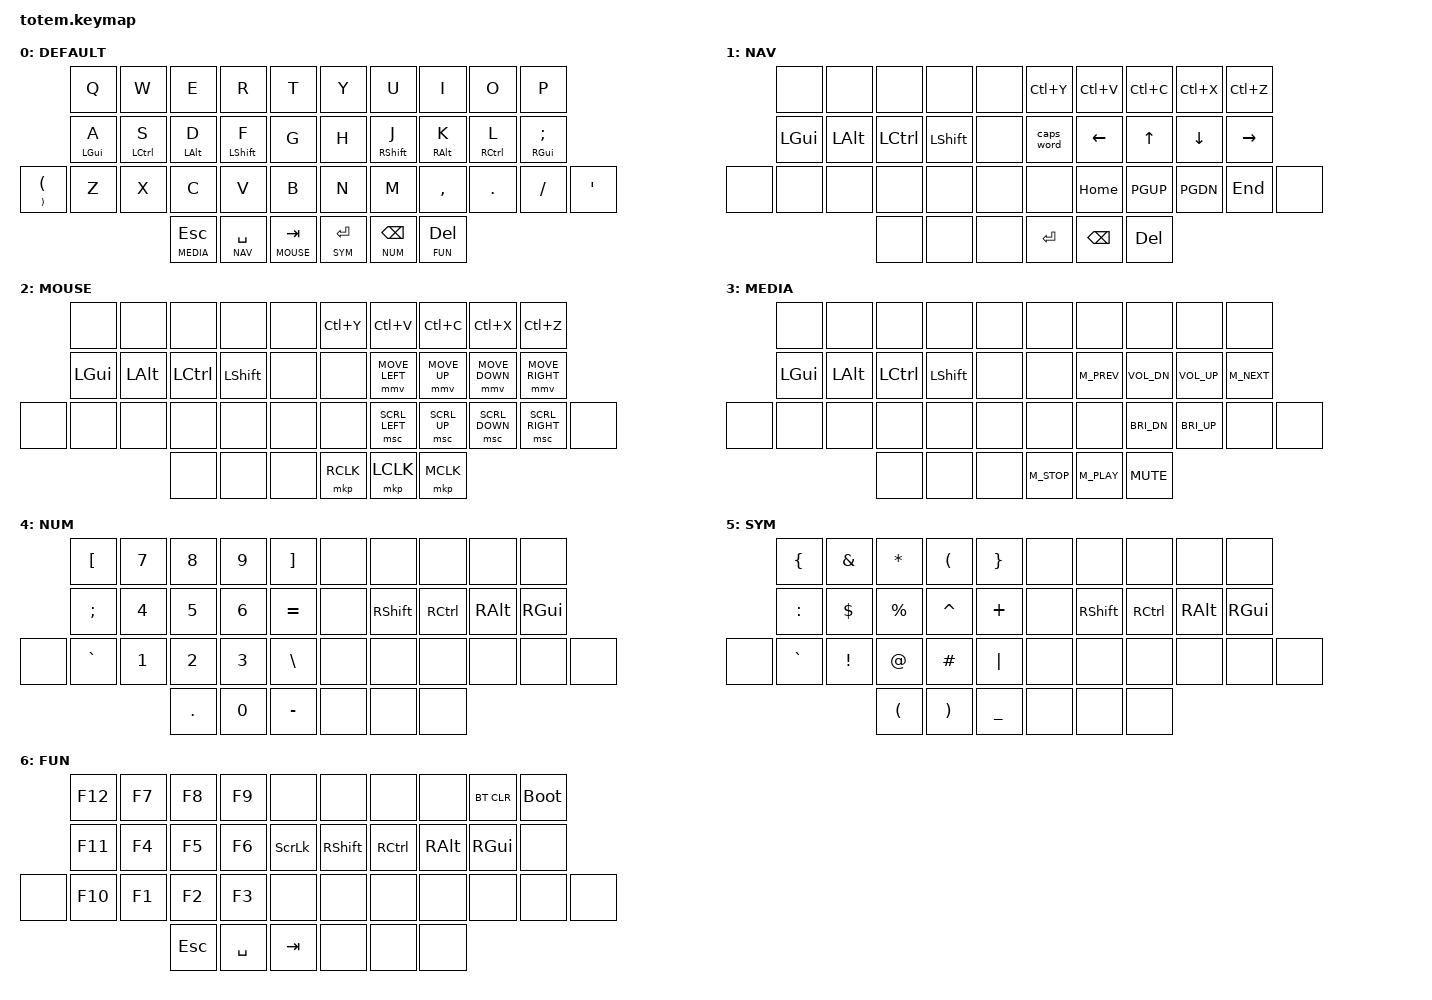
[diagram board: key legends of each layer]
#define ZMK_POINTING_DEFAULT_MOVE_VAL 1500  // default: 600, This controls the speed of the mouse keys, not the cirque.
#define ZMK_POINTING_DEFAULT_SCRL_VAL 20    // default: 10

#include <dt-bindings/zmk/mouse.h>
#include <behaviors/mouse_keys.dtsi>
#include <behaviors.dtsi>
#include <dt-bindings/zmk/bt.h>
#include <dt-bindings/zmk/keys.h>
#include <dt-bindings/zmk/pointing.h>

/* #include <dt-bindings/zmk/pointing.h> */

#define DEFAULT 0
#define NAV     1
#define MOUSE   2
#define MEDIA   3
#define NUM     4
#define SYM     5
#define FUN     6

&caps_word { continue-list = <UNDERSCORE MINUS>; };

/* Defines prefixes that can change behaviors of keys in the keymap*/

/ {
    behaviors {
        hm: homerow_mods {
            compatible = "zmk,behavior-hold-tap";
            #binding-cells = <2>;
            tapping-term-ms = <300>;
            flavor = "tap-preferred";
            bindings = <&kp>, <&kp>;
        };

        hs: homerow_shift {
            compatible = "zmk,behavior-hold-tap";
            #binding-cells = <2>;
            tapping-term-ms = <175>;
            flavor = "balanced";
            bindings = <&kp>, <&kp>;
        };
    };
};

/ {
    keymap {
        compatible = "zmk,keymap";

        DEFAULT {
            bindings = <
                                        &kp Q       &kp W        &kp E           &kp R          &kp T            &kp Y          &kp U         &kp I            &kp O        &kp P
                                        &hm LGUI A  &hm LCTRL S  &hm LEFT_ALT D  &hs LSHIFT F   &kp G            &kp H          &hs RSHIFT J  &hm RIGHT_ALT K  &hm RCTRL L  &hm RGUI SEMICOLON
&mt RIGHT_PARENTHESIS LEFT_PARENTHESIS  &kp Z       &kp X        &kp C           &kp V          &kp B            &kp N          &kp M         &kp COMMA        &kp DOT      &kp SLASH           &kp SINGLE_QUOTE
                                                                 &lt MEDIA ESC   &lt NAV SPACE  &lt MOUSE TAB    &lt SYM ENTER  &lt NUM BSPC  &lt FUN DEL
            >;
        };

        NAV {
            bindings = <
       &none     &none     &none     &none       &none    &kp LC(Y)   &kp LC(V)  &kp LC(C)  &kp LC(X)  &kp LC(Z)
       &kp LGUI  &kp LALT  &kp LCTL  &kp LSHIFT  &none    &caps_word  &kp LEFT   &kp UP     &kp DOWN   &kp RIGHT
&none  &none     &none     &none     &none       &none    &none       &kp HOME   &kp PGUP   &kp PGDN   &kp END    &none
                           &none     &none       &none    &kp ENTER   &kp BSPC   &kp DEL
            >;
        };

        MOUSE {
            bindings = <
       &none     &none     &none     &none       &none    &kp LC(Y)  &kp LC(V)       &kp LC(C)     &kp LC(X)       &kp LC(Z)
       &kp LGUI  &kp LALT  &kp LCTL  &kp LSHIFT  &none    &none      &mmv MOVE_LEFT  &mmv MOVE_UP  &mmv MOVE_DOWN  &mmv MOVE_RIGHT
&none  &none     &none     &none     &none       &none    &none      &msc SCRL_LEFT  &msc SCRL_UP  &msc SCRL_DOWN  &msc SCRL_RIGHT  &none
                           &none     &none       &none    &mkp RCLK  &mkp LCLK       &mkp MCLK
            >;
        };

        MEDIA {
            bindings = <
       &none     &none     &none     &none       &none    &none       &none       &none         &none         &none
       &kp LGUI  &kp LALT  &kp LCTL  &kp LSHIFT  &none    &none       &kp M_PREV  &kp C_VOL_DN  &kp C_VOL_UP  &kp M_NEXT
&none  &none     &none     &none     &none       &none    &none       &none       &kp C_BRI_DN  &kp C_BRI_UP  &none       &none
                           &none     &none       &none    &kp M_STOP  &kp M_PLAY  &kp C_MUTE
            >;
        };

        NUM {
            bindings = <
       &kp LBKT   &kp N7  &kp N8   &kp N9  &kp RBKT     &none  &none       &none     &none     &none
       &kp SCLN   &kp N4  &kp N5   &kp N6  &kp EQUAL    &none  &kp RSHIFT  &kp RCTL  &kp RALT  &kp RGUI
&none  &kp GRAVE  &kp N1  &kp N2   &kp N3  &kp BSLH     &none  &none       &none     &none     &none     &none
                          &kp DOT  &kp N0  &kp MINUS    &none  &none       &none
            >;
        };

        SYM {
            bindings = <
       &kp LBRC   &kp AMPS  &kp STAR   &kp LPAR   &kp RBRC     &none  &none       &none     &none     &none
       &kp COLN   &kp DLLR  &kp PRCNT  &kp CARET  &kp PLUS     &none  &kp RSHIFT  &kp RCTL  &kp RALT  &kp RGUI
&none  &kp GRAVE  &kp EXCL  &kp AT     &kp HASH   &kp PIPE     &none  &none       &none     &none     &none     &none
                            &kp LPAR   &kp RPAR   &kp UNDER    &none  &none       &none
            >;
        };

        FUN {
            bindings = <
       &kp F12  &kp F7  &kp F8   &kp F9     &none       &none       &none     &none     &bt BT_CLR  &bootloader
       &kp F11  &kp F4  &kp F5   &kp F6     &kp SLCK    &kp RSHIFT  &kp RCTL  &kp RALT  &kp RGUI    &none
&none  &kp F10  &kp F1  &kp F2   &kp F3     &none       &none       &none     &none     &none       &none        &none
                        &kp ESC  &kp SPACE  &kp TAB     &none       &none     &none
            >;
        };
    };
};
